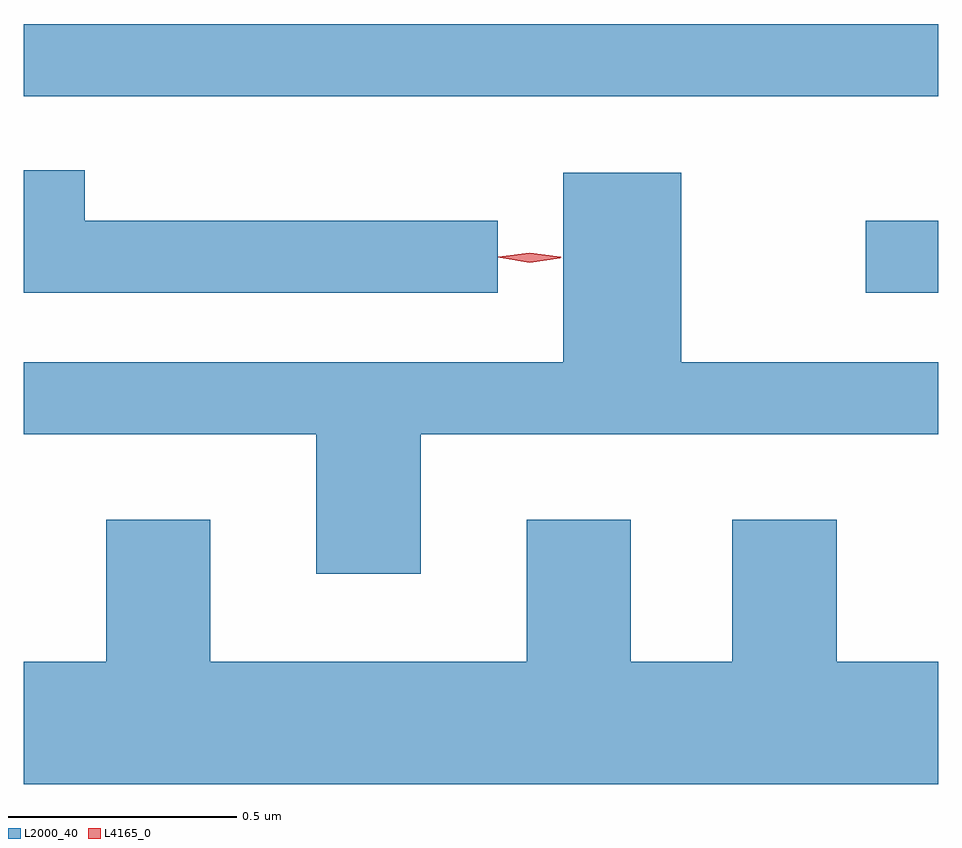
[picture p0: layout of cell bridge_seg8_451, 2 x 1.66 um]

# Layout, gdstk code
import gdstk
lib = gdstk.Library(unit=1e-6, precision=1e-09)
def R(c, l, rs):  # rectangles x0, y0, x1, y1
    for r in rs: c.add(gdstk.rectangle(r[:2], r[2:], *l))
def P(c, l, *ps):  # polygons
    for p in ps: c.add(gdstk.Polygon(p, *l))
L2000_40 = (2000, 40)
L4165_0 = (4165, 0)

bridge_seg8_451 = lib.new_cell('bridge_seg8_451')
R(bridge_seg8_451, L2000_40, [(999.043,1846.371,999.201,1846.529), (997.201,1846.801,999.201,1846.959)])
P(bridge_seg8_451, L2000_40, [(998.238,1846.529),(997.334,1846.529),(997.334,1846.639),(997.201,1846.639),(997.201,1846.371),(998.238,1846.371)],
  [(998.069,1846.061),(999.201,1846.061),(999.201,1846.219),(998.639,1846.219),(998.639,1846.634),(998.381,1846.634),(998.381,1846.219),(997.201,1846.219),(997.201,1846.061),(997.841,1846.061),(997.841,1845.756),(998.069,1845.756)],
  [(999.201,1845.564),(998.979,1845.564),(998.979,1845.874),(998.751,1845.874),(998.751,1845.564),(998.529,1845.564),(998.529,1845.874),(998.301,1845.874),(998.301,1845.564),(997.609,1845.564),(997.609,1845.874),(997.381,1845.874),(997.381,1845.564),(997.201,1845.564),(997.201,1845.296),(999.201,1845.296)])
P(bridge_seg8_451, L4165_0, [(998.308,1846.44),(998.239,1846.449),(998.239,1846.45),(998.239,1846.45),(998.308,1846.459),(998.376,1846.45),(998.377,1846.449),(998.376,1846.449)],
  [(998.308,1846.437),(998.243,1846.447),(998.242,1846.447),(998.243,1846.448),(998.308,1846.457),(998.374,1846.447),(998.374,1846.447),(998.374,1846.446)])

lib.write_gds('bridge_seg8_451.gds')
